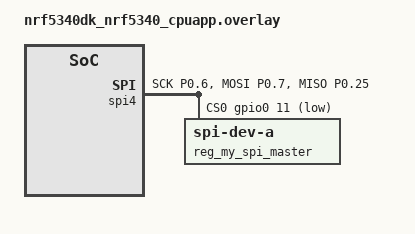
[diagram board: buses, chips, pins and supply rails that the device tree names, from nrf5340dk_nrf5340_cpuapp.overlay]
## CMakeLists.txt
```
# SPDX-License-Identifier: Apache-2.0

cmake_minimum_required(VERSION 3.20.0)
find_package(Zephyr REQUIRED HINTS $ENV{ZEPHYR_BASE})
project(multi-modal-neural-interface)

add_compile_definitions(CHIPSEL_594X)

target_include_directories(app PRIVATE include)

target_sources(app PRIVATE src/main.c src/nrf5340port.c include/ad5940lib/ad5940.h include/ad5940lib/ad5940.c)
```

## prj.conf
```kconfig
CONFIG_GPIO=y
CONFIG_SPI=y
CONFIG_SPI_ASYNC=y
```

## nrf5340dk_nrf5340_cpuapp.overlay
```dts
&pinctrl {
  spi_master_default: spi_master_default {
    group1 {
      psels = <NRF_PSEL(SPIM_SCK, 0, 6)>,
              <NRF_PSEL(SPIM_MOSI, 0, 7)>,
              <NRF_PSEL(SPIM_MISO, 0, 25)>;
    };
  };

  spi_master_sleep: spi_master_sleep {
    group1 {
      psels = <NRF_PSEL(SPIM_SCK, 0, 6)>,
              <NRF_PSEL(SPIM_MOSI, 0, 7)>,
              <NRF_PSEL(SPIM_MISO, 0, 25)>;
      low-power-enable;
    };
  };
};

my_spi_master: &spi4 {
  compatible = "nordic,nrf-spim";
  status = "okay";
  pinctrl-0 = <&spi_master_default>;
  pinctrl-1 = <&spi_master_sleep>;
  cs-gpios = <&gpio0 11 GPIO_ACTIVE_LOW>;
  reg_my_spi_master: spi-dev-a@0 {
    reg = <0>;
  };
};
```

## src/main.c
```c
/*
 * Copyright (c) 2016 Intel Corporation
 *
 * SPDX-License-Identifier: Apache-2.0
 */

#include <zephyr.h>
#include <device.h>
#include <devicetree.h>
#include "../include/ad5940lib/ad5940.h"

/* 1000 msec = 1 sec */
#define SLEEP_TIME_MS 1000

// #define MY_SPI_MASTER DT_NODELABEL(my_spi_master)

// static int spi_write_test_msg(uint8_t *i, int n)
// {
// 	static uint8_t counter = 0;
// 	static uint8_t rx_buffer[4];

// 	// Update the TX buffer with a rolling counter
// 	printk("SPI TX: 0x%.2x, 0x%.2x\n", i[0], i[1], i[2]);

// 	printk("SPI RX: 0x%.2x, 0x%.2x, 0x%.2x, 0x%.2x\n", rx_buffer[0], rx_buffer[1], rx_buffer[2], rx_buffer[3]);
// 	return 0;
// }

/*
 * A build error on this line means your board is unsupported.
 * See the sample documentation for information on how to fix this.
 */
void main(void)
{
	AD5940_MCUResourceInit(0);

	printk("resource init\n");

	AD5940_HWReset();

	printk("hw reset\n");

	AD5940_Initialize();
	printk("initialize\n");

	unsigned long temp = AD5940_ReadReg(REG_AFECON_ADIID);
	printk("Read ADIID register, got: 0x%04lx\n", temp);

	return;
}
```

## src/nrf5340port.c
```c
#include "../include/ad5940lib/ad5940.h"

#include <zephyr.h>
#include <nrfx_spim.h>
#include <hal/nrf_gpio.h>

#define SCLK_PIN 6
#define MOSI_PIN 7
#define CS_PIN 11
#define MISO_PIN 25
#define RESET_PIN 26

static volatile bool ad5940_spi_xfer_done = false;
volatile static uint32_t ucInterrupted = 0;

void ad5940_spi_event_handler(nrfx_spim_evt_t const *p_event, void *p_context)
{
  if (p_event->type == NRFX_SPIM_EVENT_DONE)
  {
    ad5940_spi_xfer_done = true;
  }
}

static const nrfx_spim_t instance = NRFX_SPIM_INSTANCE(4);

static void ad5940_spi_init(void)
{
  nrfx_spim_config_t spi_cfg = {
      .bit_order = NRF_SPIM_BIT_ORDER_MSB_FIRST,
      .frequency = NRF_SPIM_FREQ_8M,
      .mode = NRF_SPIM_MODE_0,
      .ss_pin = NRFX_SPIM_PIN_NOT_USED,
      .miso_pin = 25,
      .mosi_pin = 7,
      .sck_pin = 6,
  };

  nrfx_err_t err = nrfx_spim_init(&instance, &spi_cfg, &ad5940_spi_event_handler, NULL);
  if (err != NRFX_SUCCESS)
  {
    printk("error: %d\n", err);
    if (err == NRFX_ERROR_INVALID_STATE)
    {
      printk("invalid state\n");
    }
    else if (err == NRFX_ERROR_BUSY)
    {
      printk("busy\n");
    }
    else if (err == NRFX_ERROR_NOT_SUPPORTED)
    {
      printk("not supported\n");
    }
    else if (err == NRFX_ERROR_INVALID_PARAM)
    {
      printk("invalid param\n");
    }
  }
}

void AD5940_ReadWriteNBytes(unsigned char *pSendBuffer, unsigned char *pRecvBuff, unsigned long length)
{
  nrfx_spim_xfer_desc_t desc = {
      .p_rx_buffer = pRecvBuff,
      .p_tx_buffer = pSendBuffer,
      .rx_length = length,
      .tx_length = length,
  };
  nrfx_err_t err = nrfx_spim_xfer(&instance, &desc, 0);
  if (err != NRFX_SUCCESS)
  {
    printk("error: %d\n", err);
    if (err == NRFX_ERROR_INVALID_STATE)
    {
      printk("invalid state\n");
    }
    else if (err == NRFX_ERROR_BUSY)
    {
      printk("busy\n");
    }
    else if (err == NRFX_ERROR_NOT_SUPPORTED)
    {
      printk("not supported\n");
    }
    else if (err == NRFX_ERROR_INVALID_PARAM)
    {
      printk("invalid param\n");
    }
    else if (err == NRFX_ERROR_INVALID_ADDR)
    {
      printk("invalid addr\n");
    }
  }
  while (!ad5940_spi_xfer_done)
    ;
  ad5940_spi_xfer_done = false;
}

void AD5940_CsClr(void)
{
  nrf_gpio_pin_clear(CS_PIN);
}

void AD5940_CsSet(void)
{
  nrf_gpio_pin_set(CS_PIN);
}

void AD5940_RstClr(void)
{
  nrf_gpio_pin_clear(RESET_PIN);
}

void AD5940_RstSet(void)
{
  nrf_gpio_pin_set(RESET_PIN);
}

void AD5940_Delay10us(uint32_t time)
{
  time /= 100;
  if (time == 0)
    time = 1;
  k_msleep(time);
}

uint32_t AD5940_GetMCUIntFlag(void)
{
  return ucInterrupted;
}

uint32_t AD5940_ClrMCUIntFlag(void)
{
  ucInterrupted = 0;
  return 1;
}

uint32_t
AD5940_MCUResourceInit(void *pCfg)
{
  nrf_gpio_cfg_output(CS_PIN);
  nrf_gpio_cfg_output(SCLK_PIN);
  nrf_gpio_cfg_output(MOSI_PIN);
  nrf_gpio_cfg_input(MISO_PIN, NRF_GPIO_PIN_PULLUP);

  nrf_gpio_cfg_output(RESET_PIN);

  AD5940_CsSet();
  AD5940_RstSet();

  ad5940_spi_init();

  return 0;
}
```
